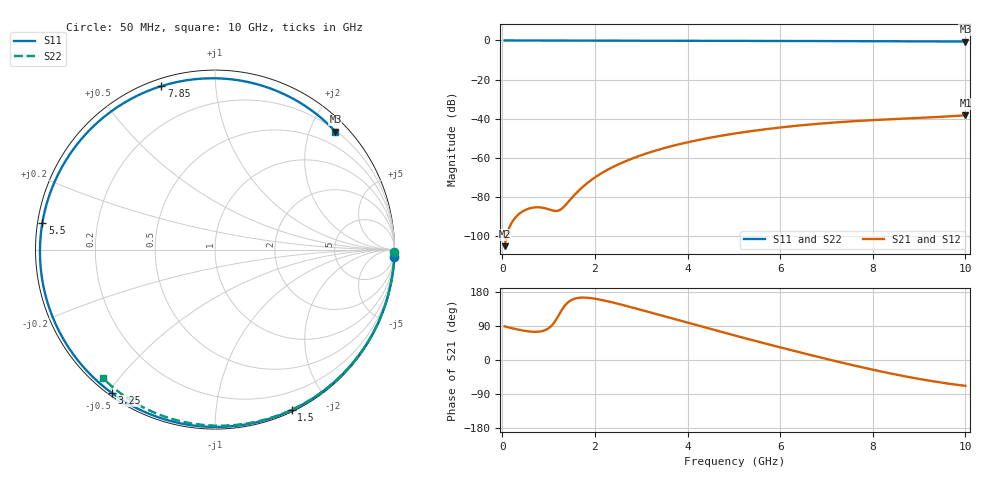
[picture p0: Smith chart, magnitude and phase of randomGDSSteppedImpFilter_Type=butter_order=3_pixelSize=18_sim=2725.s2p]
! freq	dB(S11)	phase(S11)	dB(S12)	phase(S12)
!  dB(S21)	phase(S21)	dB(S22)	phase(S22)
!S-par simulation data
#  GHz  S  DB  R 50
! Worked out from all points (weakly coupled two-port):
!   200 points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, 50 MHz to 10 GHz, reference 50 ohm
!   highest |S21| = -38.19 dB at 10 GHz (marker M1); lowest = -105.1 dB at 50 MHz (marker M2)
!   lowest |S11| = -0.5 dB at 10 GHz (marker M3), VSWR 31.78, Z = 11 + j122 ohm
!   |S11| at or under -10 dB: nowhere
!   |S22| runs from -0.4 to 0.0 dB; largest |S21 - S12| = 0
!   S11 on the Smith chart (normalised r, x): 50 MHz: 0, -50; 1.5 GHz: 0.02, -1.58; 3.25 GHz: 0.01, -0.51; 5.5 GHz: 0.01, +0.08; 7.85 GHz: 0.03, +0.72; 10 GHz: 0.22, +2.43
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0.05  -0.00 -2.3  -105.06 88.8  -105.06 88.8  -0.00 -0.8
0.35  -0.02 -15.7  -88.86 80.1  -88.86 80.1  -0.01 -5.3
0.7  -0.04 -31.1  -85.26 74.4  -85.26 74.4  -0.01 -10.5
1.1  -0.06 -48.2  -86.93 95.7  -86.93 95.7  -0.02 -16.5
1.5  -0.08 -64.5  -80.43 158.8  -80.43 158.8  -0.03 -22.5
1.75  -0.09 -74.3  -74.51 164.7  -74.51 164.7  -0.03 -26.1
2.05  -0.10 -85.5  -69.18 160.6  -69.18 160.6  -0.04 -30.5
2.4  -0.11 -98.0  -64.50 151.3  -64.50 151.3  -0.05 -35.6
2.8  -0.12 -111.5  -60.35 138.7  -60.35 138.7  -0.05 -41.3
3.25  -0.14 -125.8  -56.68 123.7  -56.68 123.7  -0.06 -47.7
3.4  -0.14 -130.4  -55.62 118.7  -55.62 118.7  -0.07 -49.8
4.2  -0.17 -153.7  -51.00 91.7  -51.00 91.7  -0.09 -60.7
5.05  -0.21 -176.8  -47.41 63.7  -47.41 63.7  -0.11 -72.0
5.5  -0.23 171.3  -45.90 49.2  -45.90 49.2  -0.13 -77.8
6.1  -0.27 155.5  -44.19 30.2  -44.19 30.2  -0.15 -85.4
6.7  -0.30 139.6  -42.81 11.8  -42.81 11.8  -0.18 -92.8
7.3  -0.33 123.4  -41.70 -6.0  -41.70 -6.0  -0.21 -100.1
7.85  -0.37 108.1  -40.89 -21.5  -40.89 -21.5  -0.25 -106.6
8.35  -0.40 93.9  -40.28 -34.7  -40.28 -34.7  -0.29 -112.4
9.15  -0.45 70.2  -39.39 -53.1  -39.39 -53.1  -0.36 -121.5
9.55  -0.49 58.1  -38.90 -60.9  -38.90 -60.9  -0.40 -126.0
10  -0.55 44.4  -38.19 -68.2  -38.19 -68.2  -0.45 -131.1
